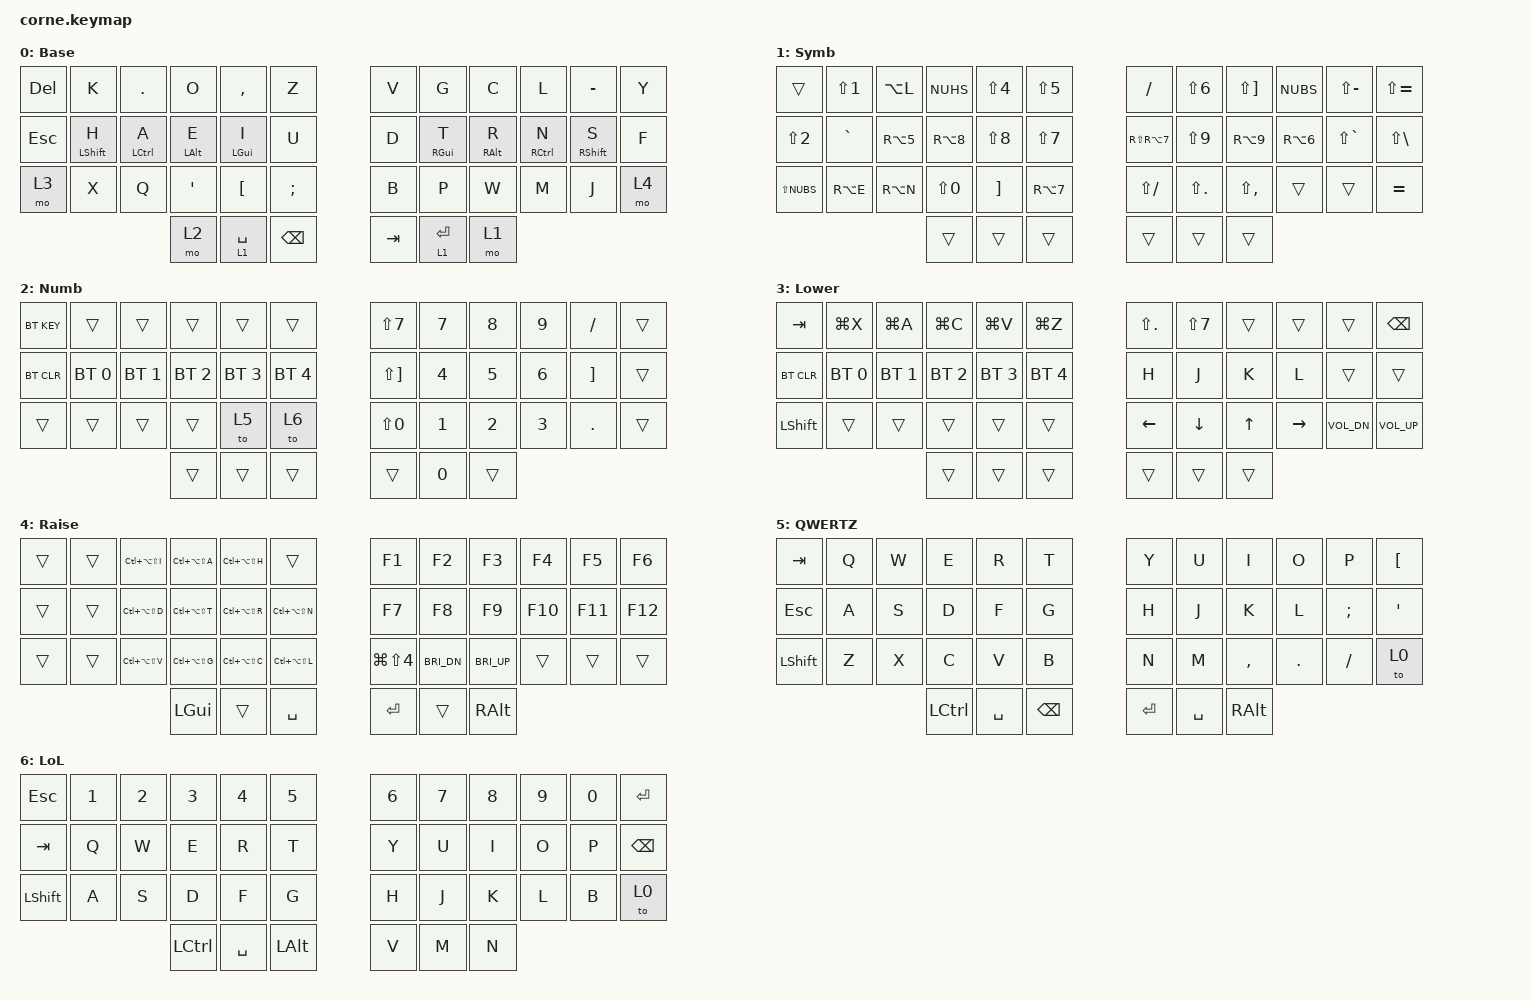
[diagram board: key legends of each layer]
#include <behaviors.dtsi>
#include <dt-bindings/zmk/keys.h>
#include <dt-bindings/zmk/bt.h>

// German keycode definitions
#define DE_Y Z
#define DE_Z Y
#define DE_SS MINUS
#define DE_UE LBKT
#define DE_OE SEMI
#define DE_AE SQT

/ {
        behaviors {
                hml: homerow_mods_left {
                        compatible = "zmk,behavior-hold-tap";
                        label = "HOMEROW_MODS_LEFT";
                        #binding-cells = <2>;
                        flavor = "balanced";
                        tapping-term-ms = <175>;
                        quick-tap-ms = <125>;
                        require-prior-idle-ms = <125>;
                        bindings = <&kp>, <&kp>;
                        hold-trigger-key-positions = <6 7 8 9 10 11 18 19 20 21 22 23 30 31 32 33 34 35 39 40 41>;
                };

                hmr: homerow_mods_right {
                        compatible = "zmk,behavior-hold-tap";
                        label = "HOMEROW_MODS_RIGHT";
                        #binding-cells = <2>;
                        flavor = "balanced";
                        tapping-term-ms = <175>;
                        quick-tap-ms = <125>;
                        require-prior-idle-ms = <125>;
                        bindings = <&kp>, <&kp>;
                        hold-trigger-key-positions = <0 1 2 3 4 5 12 13 14 15 16 17 24 25 26 27 28 29 36 37 38>;
                };
        };

        keymap {
                compatible = "zmk,keymap";
                default_layer {
// 0------------------------------------------------------------------------------
// | DEL  |  K  |  .  |  O  |  ,  |  Y  |   |  V  |  G  |  C  |  L  |  ß  |  Z   |
// | ESC  | H/⇧ | A/⌃ | E/⌥ | I/⌘ |  U  |   |  D  | T/⌘ | R/⌥ | N/⌃ | S/⇧ |  F   |
// | LWR  |  X  |  Q  |  Ä  |  Ü  |  Ö  |   |  B  |  P  |  W  |  M  |  J  |  MO4 |
//                    | NUM |SPC/S|BSPC |   | TAB |ENT/S| SYM |
                        display-name = "Base";
                        bindings = <
   &kp DEL    &kp K         &kp DOT       &kp O         &kp COMMA     &kp DE_Y       &kp V  &kp G         &kp C         &kp L         &kp DE_SS     &kp DE_Z
   &kp ESC    &hml LSHFT H  &hml LCTRL A  &hml LALT E   &hml LGUI I   &kp U          &kp D  &hmr RGUI T   &hmr RALT R   &hmr RCTRL N  &hmr RSHFT S  &kp F
   &mo 3      &kp X         &kp Q         &kp DE_AE     &kp DE_UE     &kp DE_OE      &kp B  &kp P         &kp W         &kp M         &kp J         &mo 4
                                          &mo 2         &lt 1 SPACE   &kp BSPC       &kp TAB &lt 1 RET    &mo 1
                        >;
                };

                symbols_layer {
// 1------------------------------------------------------------------------------
// |      |  !  |  @  |  #  |  $  |  %  |   |  -  |  &  |  *  |  ^  |  ?  |  `   |
// |  "   |  <  |  [  |  {  |  (  |  /  |   |  \  |  )  |  }  |  ]  |  >  |  '   |
// |  °   |  €  |  ~  |  =  |  +  |  |  |   |  _  |  :  |  ;  |     |     |  ´   |
//                    |     | ___ |     |   |     | ___ |     |
                        display-name = "Symb";
                        bindings = <
   &trans        &kp LS(N1)    &kp LA(L)     &kp NUHS      &kp LS(N4)    &kp LS(N5)         &kp SLASH      &kp LS(N6)    &kp LS(RBKT)  &kp NUBS      &kp LS(MINUS)   &kp LS(EQUAL)
   &kp LS(N2)    &kp GRAVE     &kp RA(N5)    &kp RA(N8)    &kp LS(N8)    &kp LS(N7)         &kp RS(RA(N7)) &kp LS(N9)    &kp RA(N9)    &kp RA(N6)    &kp LS(GRAVE)   &kp LS(BSLH)
   &kp LS(NUBS)  &kp RA(E)     &kp RA(N)     &kp LS(N0)    &kp RBKT      &kp RA(N7)         &kp LS(SLASH)  &kp LS(DOT)   &kp LS(COMMA) &trans        &trans          &kp EQUAL
                                             &trans        &trans        &trans             &trans        &trans        &trans
                        >;
                };

                numbers_layer {
// 2------------------------------------------------------------------------------
// | BTKEY|     |     |     |     |     |   |  /  |  7  |  8  |  9  |  -  |      |
// | BTCLR| BT1 | BT2 | BT3 | BT4 | BT5 |   |  *  |  4  |  5  |  6  |  +  |      |
// |      |     |     |     |QWERT| LoL |   |  =  |  1  |  2  |  3  |  .  |      |
//                    |     |     |     |   |     |  0  |     |
                        display-name = "Numb";
                        bindings = <
   &bt BT_KEY        &trans        &trans        &trans        &trans        &trans             &kp LS(N7)    &kp N7        &kp N8        &kp N9        &kp SLASH      &trans
   &bt BT_CLR    &bt BT_SEL 0  &bt BT_SEL 1  &bt BT_SEL 2  &bt BT_SEL 3  &bt BT_SEL 4       &kp LS(RBKT)  &kp N4        &kp N5        &kp N6        &kp RBKT       &trans
   &trans        &trans        &trans        &trans        &to 5         &to 6              &kp LS(N0)    &kp N1        &kp N2        &kp N3        &kp DOT        &trans
                                             &trans        &trans        &trans             &trans        &kp N0        &trans
                        >;
                };

                lower_layer {
// 3------------------------------------------------------------------------------
// |  TAB | ⌘+X | ⌘+A | ⌘+C | ⌘+V | ⌘+Z |   |  :  |  /  |     |     |     | BKSP |
// | BTCLR| BT1 | BT2 | BT3 | BT4 | BT5 |   |  H  |  J  |  K  |  L  |     |      |
// | SHFT |     |     |     |     |     |   | LFT | DWN |  UP | RGT | V-  | V+   |
//                    | ___ |     |     |   |     |     |     |
                        display-name = "Lower";
                        bindings = <
   &kp TAB    &kp LG(X)    &kp LG(A)    &kp LG(C)    &kp LG(V)    &kp LG(Z)      &kp LS(DOT) &kp LS(N7)  &trans      &trans       &trans        &kp BSPC
   &bt BT_CLR &bt BT_SEL 0 &bt BT_SEL 1 &bt BT_SEL 2 &bt BT_SEL 3 &bt BT_SEL 4   &kp H       &kp J       &kp K       &kp L        &trans        &trans
   &kp LSHFT  &trans       &trans       &trans       &trans       &trans         &kp LEFT    &kp DOWN    &kp UP      &kp RIGHT    &kp C_VOL_DN  &kp C_VOL_UP
                              	        &trans       &trans       &trans         &trans      &trans      &trans
                        >;
                };

                raise_layer {
// 4------------------------------------------------------------------------------
// |      |     | Layo| Rsz+| Rsz-|     |   | F1  | F2  | F3  | F4  | F5  | F6   |
// |      |     | WS1 | Foc↓| Foc↑| Foc→|   | F7  | F8  | F9  | F10 | F11 | F12  |
// |      |     | MvL | Mv↓ | Mv↑ | Mv→ |   | SS  | BRI-| BRI+|     |     | ____ |
//                    |     |     |     |   |     |     |     |
                        display-name = "Raise";
                        bindings = <
   &trans            &trans            &kp LC(LA(LS(I))) &kp LC(LA(LS(A))) &kp LC(LA(LS(H))) &trans             &kp F1         &kp F2       &kp F3       &kp F4       &kp F5       &kp F6
   &trans            &trans            &kp LC(LA(LS(D))) &kp LC(LA(LS(T))) &kp LC(LA(LS(R))) &kp LC(LA(LS(N))) &kp F7         &kp F8       &kp F9       &kp F10      &kp F11      &kp F12
   &trans            &trans            &kp LC(LA(LS(V))) &kp LC(LA(LS(G))) &kp LC(LA(LS(C))) &kp LC(LA(LS(L))) &kp LG(LS(N4)) &kp C_BRI_DN &kp C_BRI_UP &trans       &trans       &trans
                                                          &kp LGUI          &trans            &kp SPACE          &kp RET        &trans       &kp RALT
                        >;
                };

                QWERTZ {
// 5------------------------------------------------------------------------------
// |  TAB |  Q  |  W  |  E  |  R  |  T  |   |  Z  |  U  |  I  |  O  |  P  |  Ü   |
// |  ESC |  A  |  S  |  D  |  F  |  G  |   |  H  |  J  |  K  |  L  |  Ö  |  Ä   |
// | SHFT |  Y  |  X  |  C  |  V  |  B  |   |  N  |  M  |  ,  |  .  |  -  | BASE |
//                    | CTRL| SPC | BSPC|   | RET | SPC | ALT |
                        display-name = "QWERTZ";
                        bindings = <
   &kp TAB    &kp Q  &kp W  &kp E     &kp R     &kp T          &kp DE_Z   &kp U  &kp I      &kp O    &kp P      &kp DE_UE
   &kp ESC    &kp A  &kp S  &kp D     &kp F     &kp G          &kp H      &kp J  &kp K      &kp L    &kp DE_OE  &kp DE_AE
   &kp LSHFT  &kp DE_Y &kp X &kp C    &kp V     &kp B          &kp N      &kp M  &kp COMMA  &kp DOT  &kp SLASH  &to 0
                            &kp LCTRL &kp SPACE &kp BSPC       &kp RET    &kp SPACE &kp RALT
                        >;
                };

                extra_1 {
// League of Legends Gaming Layer
// 6------------------------------------------------------------------------------
// |  ESC |  1  |  2  |  3  |  4  |  5  |   |  6  |  7  |  8  |  9  |  0  | ENT  |
// |  TAB |  Q  |  W  |  E  |  R  |  T  |   |  Y  |  U  |  I  |  O  |  P  | BSPC |
// | SHFT |  A  |  S  |  D  |  F  |  G  |   |  H  |  J  |  K  |  L  |  B  | →0   |
//                    | CTRL| SPC | ALT |   |  V  |  M  |  N  |
                        display-name = "LoL";
                        bindings = <
   &kp ESC    &kp N1  &kp N2  &kp N3    &kp N4    &kp N5         &kp N6     &kp N7  &kp N8  &kp N9  &kp N0  &kp RET
   &kp TAB    &kp Q   &kp W   &kp E     &kp R     &kp T          &kp Y      &kp U   &kp I   &kp O   &kp P   &kp BSPC
   &kp LSHFT  &kp A   &kp S   &kp D     &kp F     &kp G          &kp H      &kp J   &kp K   &kp L   &kp B   &to 0
                              &kp LCTRL &kp SPACE &kp LALT       &kp V      &kp M   &kp N
                        >;
                };

                extra_2 {
                        status = "reserved";
                };
        };
};
